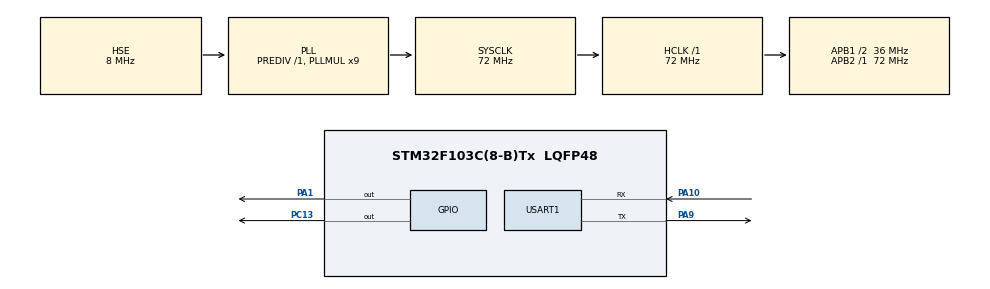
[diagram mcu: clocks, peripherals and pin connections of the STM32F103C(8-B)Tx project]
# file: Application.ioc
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Mcu.Family=STM32F1
Mcu.Name=STM32F103C(8-B)Tx
Mcu.Package=LQFP48
NVIC.PriorityGroup=NVIC_PRIORITYGROUP_4
NVIC.USART1_IRQn=true\:5\:0\:true\:false\:true\:true\:true\:true
PA1.Signal=GPIO_Output
PA10.Mode=Asynchronous
PA10.Signal=USART1_RX
PA13.Mode=Serial_Wire
PA13.Signal=SYS_JTMS-SWDIO
PA14.Mode=Serial_Wire
PA14.Signal=SYS_JTCK-SWCLK
PA9.Mode=Asynchronous
PA9.Signal=USART1_TX
PC13-TAMPER-RTC.Signal=GPIO_Output
PD0-OSC_IN.Mode=HSE-External-Oscillator
PD0-OSC_IN.Signal=RCC_OSC_IN
PD1-OSC_OUT.Mode=HSE-External-Oscillator
PD1-OSC_OUT.Signal=RCC_OSC_OUT
ProjectManager.HeapSize=0x200
ProjectManager.StackSize=0x400
ProjectManager.TargetToolchain=STM32CubeIDE
RCC.AHBFreq_Value=72000000
RCC.APB1CLKDivider=RCC_HCLK_DIV2
RCC.APB1Freq_Value=36000000
RCC.APB1TimFreq_Value=72000000
RCC.APB2Freq_Value=72000000
RCC.APB2TimFreq_Value=72000000
RCC.HCLKFreq_Value=72000000
RCC.PLLMUL=RCC_PLL_MUL9
RCC.PLLSourceVirtual=RCC_PLLSOURCE_HSE
RCC.SYSCLKFreq_VALUE=72000000
RCC.SYSCLKSource=RCC_SYSCLKSOURCE_PLLCLK
RCC.USBFreq_Value=72000000
USART1.VirtualMode=VM_ASYNC
board=custom

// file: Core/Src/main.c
/* USER CODE BEGIN Header */
/**
  ******************************************************************************
  * @file           : main.c
  * @brief          : Main program body
  ******************************************************************************
  * @attention
  *
  * Copyright (c) 2026 STMicroelectronics.
  * All rights reserved.
  *
  * This software is licensed under terms that can be found in the LICENSE file
  * in the root directory of this software component.
  * If no LICENSE file comes with this software, it is provided AS-IS.
  *
  ******************************************************************************
  */
/* USER CODE END Header */
#include "main.h"
#include "usart.h"
#include "gpio.h"

/* USER CODE BEGIN Includes */
#include "flash_layout.h"
#include "app_header.h"
#include "bl_flag.h"
#include "app_bl_entry.h"
#include "button_entry.h"
/* USER CODE END Includes */

/* USER CODE BEGIN PTD */
#ifndef APP_BLINK_MS
#define APP_BLINK_MS 1000U
#endif

#define APP_CONFIRM_DELAY_MS  3000U
/* USER CODE END PTD */

void SystemClock_Config(void);

/* USER CODE BEGIN 0 */
__attribute__((section(".header"))) const app_header_t app_header =
{
	.ota_flag = 0,
	.magic = 0xABCDEFAB,
	.size = 0,
	.crc = 0,
	.version = 0
};
/* USER CODE END 0 */

int main(void)
{

  /* MCU Configuration--------------------------------------------------------*/

  /* Reset of all peripherals, Initializes the Flash interface and the Systick. */
  HAL_Init();

  /* USER CODE BEGIN Init */
  SCB->VTOR = APP_START_ADDR; // trỏ đến đầu bộ nhớ ứng dụng

  __enable_irq();
  /* USER CODE END Init */

  /* Configure the system clock */
  SystemClock_Config();

  /* Initialize all configured peripherals */
  MX_GPIO_Init();
  MX_USART1_UART_Init();
  /* USER CODE BEGIN 2 */

  __HAL_RCC_GPIOC_CLK_ENABLE();
  GPIO_InitTypeDef led = {0};
  led.Pin = GPIO_PIN_13;
  led.Mode = GPIO_MODE_OUTPUT_PP;
  led.Pull = GPIO_NOPULL;
  led.Speed = GPIO_SPEED_FREQ_LOW;
  HAL_GPIO_Init(GPIOC, &led);

  HAL_UART_Transmit(&huart1, (uint8_t*)"Inside Application!!\r\n", 22, 100);
  btn_init();
  uint32_t started_at = HAL_GetTick();
  uint32_t led_changed_at = started_at;
  uint8_t confirm_attempted = 0;
  /* USER CODE END 2 */

  /* Infinite loop */
  while (1)
  {

    /* USER CODE BEGIN 3 */
	  uint32_t now = HAL_GetTick();
	  btn_poll();
	  bl_poll();

	  if ((now - led_changed_at) >= APP_BLINK_MS) {
		  led_changed_at = now;
	      HAL_GPIO_TogglePin(GPIOC, GPIO_PIN_13);
	  }

	  if (!confirm_attempted && (now - started_at) >= APP_CONFIRM_DELAY_MS) {
	      confirm_attempted = 1;

	      if (bl_confirm_ok() != HAL_OK) {
	    	  static const uint8_t message[] = "OTA confirm failed\r\n";
	    	  (void)HAL_UART_Transmit(&huart1,(uint8_t *)message, sizeof(message) - 1,100);
	             }
	         }
  }
  /* USER CODE END 3 */
}

void SystemClock_Config(void)
{
  RCC_OscInitTypeDef RCC_OscInitStruct = {0};
  RCC_ClkInitTypeDef RCC_ClkInitStruct = {0};

  /** Initializes the RCC Oscillators according to the specified parameters
  * in the RCC_OscInitTypeDef structure.
  */
  RCC_OscInitStruct.OscillatorType = RCC_OSCILLATORTYPE_HSE;
  RCC_OscInitStruct.HSEState = RCC_HSE_ON;
  RCC_OscInitStruct.HSEPredivValue = RCC_HSE_PREDIV_DIV1;
  RCC_OscInitStruct.HSIState = RCC_HSI_ON;
  RCC_OscInitStruct.PLL.PLLState = RCC_PLL_ON;
  RCC_OscInitStruct.PLL.PLLSource = RCC_PLLSOURCE_HSE;
  RCC_OscInitStruct.PLL.PLLMUL = RCC_PLL_MUL9;
  if (HAL_RCC_OscConfig(&RCC_OscInitStruct) != HAL_OK)
  {
    Error_Handler();
  }

  /** Initializes the CPU, AHB and APB buses clocks
  */
  RCC_ClkInitStruct.ClockType = RCC_CLOCKTYPE_HCLK|RCC_CLOCKTYPE_SYSCLK
                              |RCC_CLOCKTYPE_PCLK1|RCC_CLOCKTYPE_PCLK2;
  RCC_ClkInitStruct.SYSCLKSource = RCC_SYSCLKSOURCE_PLLCLK;
  RCC_ClkInitStruct.AHBCLKDivider = RCC_SYSCLK_DIV1;
  RCC_ClkInitStruct.APB1CLKDivider = RCC_HCLK_DIV2;
  RCC_ClkInitStruct.APB2CLKDivider = RCC_HCLK_DIV1;

  if (HAL_RCC_ClockConfig(&RCC_ClkInitStruct, FLASH_LATENCY_2) != HAL_OK)
  {
    Error_Handler();
  }
}

void Error_Handler(void)
{
  __disable_irq();
  while (1)
  {
  }
}
